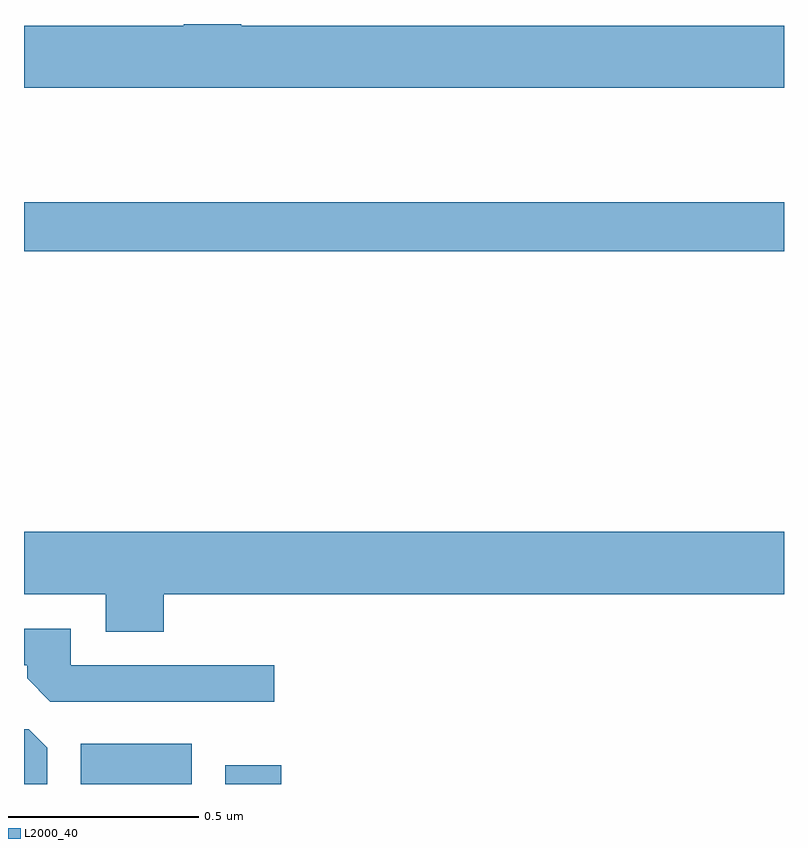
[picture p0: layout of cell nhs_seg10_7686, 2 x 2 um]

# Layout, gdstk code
import gdstk
lib = gdstk.Library(unit=1e-6, precision=1e-09)
def R(c, l, rs):  # rectangles x0, y0, x1, y1
    for r in rs: c.add(gdstk.rectangle(r[:2], r[2:], *l))
def P(c, l, *ps):  # polygons
    for p in ps: c.add(gdstk.Polygon(p, *l))
L2000_40 = (2000, 40)

nhs_seg10_7686 = lib.new_cell('nhs_seg10_7686')
R(nhs_seg10_7686, L2000_40, [(207.149,1282.5,207.442,1282.606), (207.53,1282.5,207.677,1282.549), (207,1283.902,209,1284.031)])
P(nhs_seg10_7686, L2000_40, [(209,1284.496),(207.572,1284.496),(207.572,1284.5),(207.42,1284.5),(207.42,1284.496),(207,1284.496),(207,1284.332),(209,1284.332)],
  [(207.368,1283),(209,1283),(209,1283.164),(207,1283.164),(207,1283),(207.215,1283),(207.215,1282.901),(207.368,1282.901)],
  [(207.658,1282.812),(207.123,1282.812),(207.123,1282.908),(207,1282.908),(207,1282.812),(207.008,1282.812),(207.008,1282.778),(207.069,1282.716),(207.658,1282.716)],
  [(207.061,1282.595),(207.012,1282.644),(207,1282.644),(207,1282.5),(207.061,1282.5)])

lib.write_gds('nhs_seg10_7686.gds')
